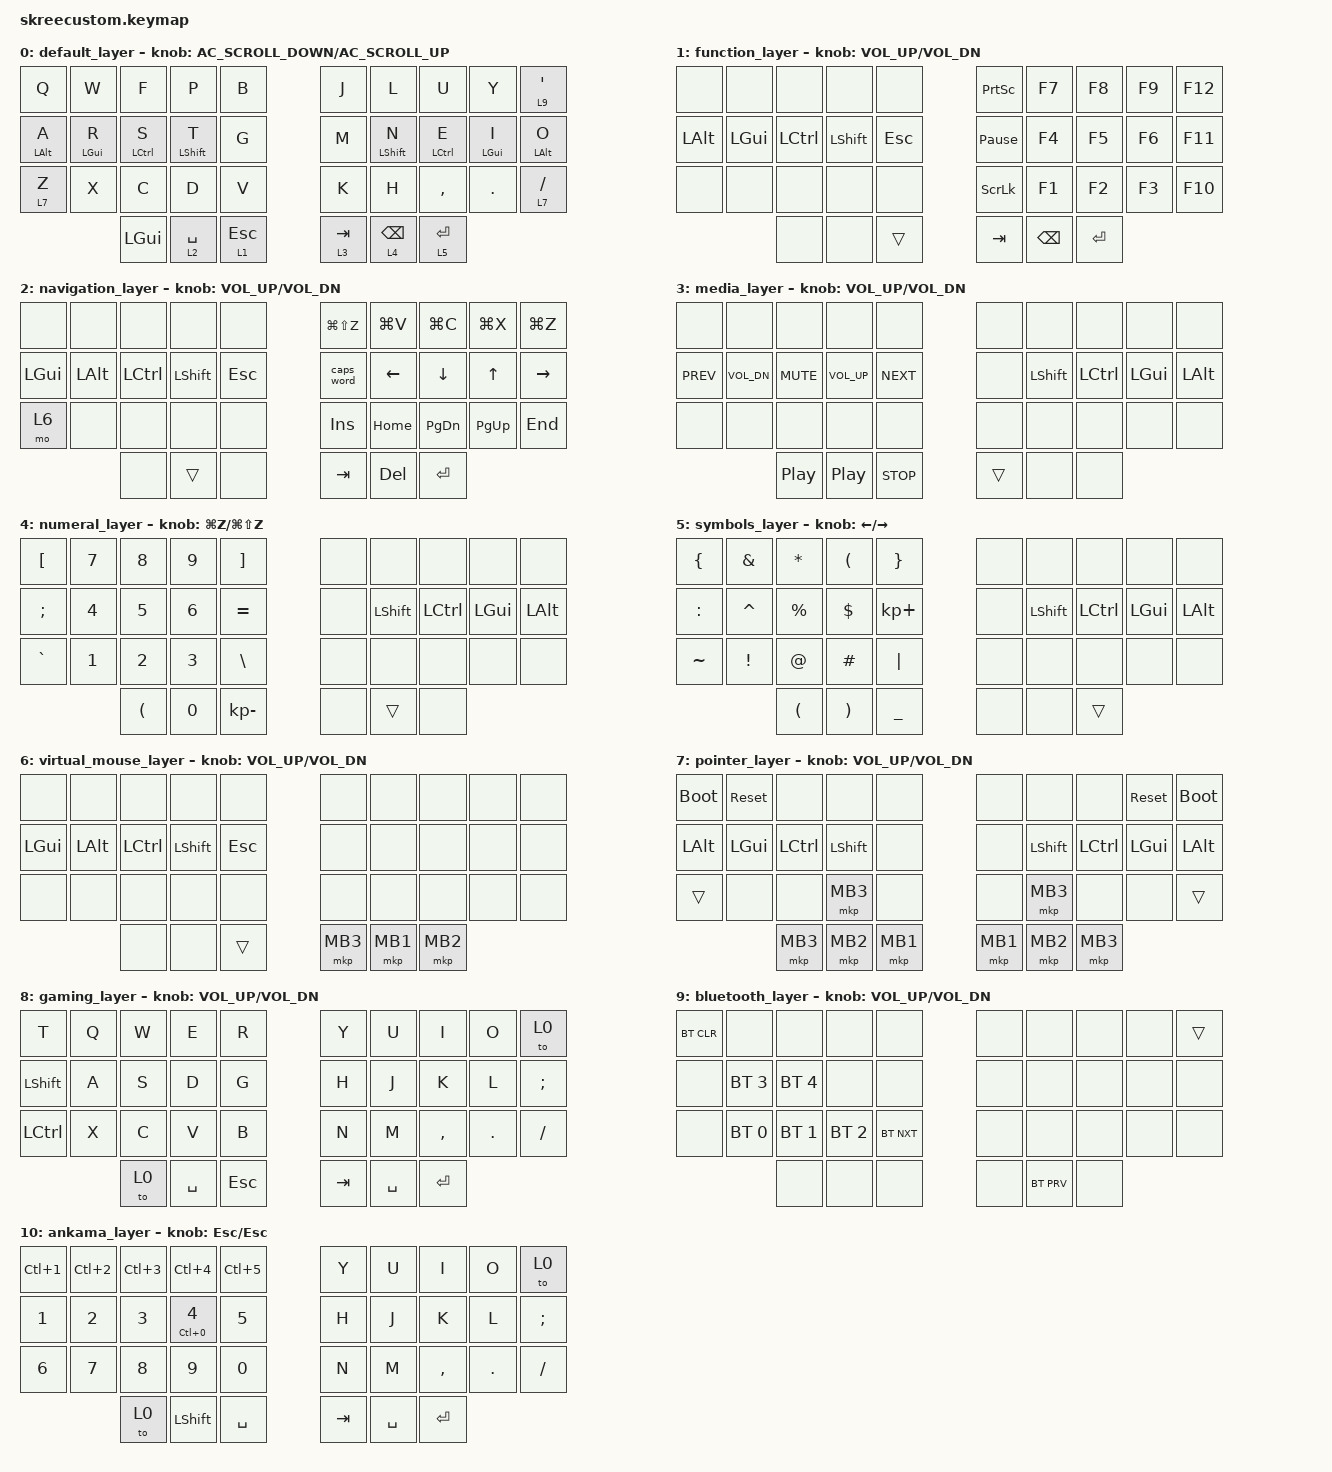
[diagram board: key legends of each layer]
/*
 * Copyright (c) 2020 The ZMK Contributors
 *
 * SPDX-License-Identifier: MIT
 */

#include <input/processors.dtsi>
#include <dt-bindings/zmk/input_transform.h>
#include <behaviors.dtsi>
#include <dt-bindings/zmk/bt.h>
#include <dt-bindings/zmk/keys.h>
#include <dt-bindings/zmk/pointing.h>

/ {
  combos {
    compatible = "zmk,combos";

    combo_gaming {
      timeout-ms = <50>;
      key-positions = <0 4>; // base layer - Q and B positions
      bindings = <&to 8>;
    };

    combo_ankama {
      timeout-ms = <50>;
      key-positions = <0 3>; // base layer - Q and P positions
      bindings = <&to 10>;
    };
  };
  
  behaviors {
    // Fast homerow mods for stronger fingers (T, N - shift keys)
    hml_fast: homerow_mods_left_fast {
        compatible = "zmk,behavior-hold-tap";
        #binding-cells = <2>;
        flavor = "balanced";
        tapping-term-ms = <130>;
        quick-tap-ms = <100>;
        require-prior-idle-ms = <30>;
        bindings = <&kp>, <&kp>;
        hold-trigger-key-positions = <5 6 7 8 9 15 16 17 18 19 25 26 27 28 29 30 31 32 33>;
    };

    hmr_fast: homerow_mods_right_fast {
        compatible = "zmk,behavior-hold-tap";
        #binding-cells = <2>;
        flavor = "balanced";
        tapping-term-ms = <130>;
        quick-tap-ms = <100>;
        require-prior-idle-ms = <30>;
        bindings = <&kp>, <&kp>;
        hold-trigger-key-positions = <0 1 2 3 4 10 11 12 13 14 20 21 22 23 24 30 31 32 33>;
    };

    // Medium homerow mods for ctrl keys (S, E)
    hml_med: homerow_mods_left_medium {
        compatible = "zmk,behavior-hold-tap";
        #binding-cells = <2>;
        flavor = "balanced";
        tapping-term-ms = <160>;
        quick-tap-ms = <110>;
        require-prior-idle-ms = <50>;
        bindings = <&kp>, <&kp>;
        hold-trigger-key-positions = <5 6 7 8 9 15 16 17 18 19 25 26 27 28 29 30 31 32 33>;
    };

    hmr_med: homerow_mods_right_medium {
        compatible = "zmk,behavior-hold-tap";
        #binding-cells = <2>;
        flavor = "balanced";
        tapping-term-ms = <160>;
        quick-tap-ms = <110>;
        require-prior-idle-ms = <50>;
        bindings = <&kp>, <&kp>;
        hold-trigger-key-positions = <0 1 2 3 4 10 11 12 13 14 20 21 22 23 24 30 31 32 33>;
    };

    // Slow homerow mods for weaker fingers (A, R, I, O - alt/gui)
    hml_slow: homerow_mods_left_slow {
        compatible = "zmk,behavior-hold-tap";
        #binding-cells = <2>;
        flavor = "balanced";
        tapping-term-ms = <190>;
        quick-tap-ms = <125>;
        require-prior-idle-ms = <80>;
        bindings = <&kp>, <&kp>;
        hold-trigger-key-positions = <5 6 7 8 9 15 16 17 18 19 25 26 27 28 29 30 31 32 33>;
    };

    hmr_slow: homerow_mods_right_slow {
        compatible = "zmk,behavior-hold-tap";
        #binding-cells = <2>;
        flavor = "balanced";
        tapping-term-ms = <190>;
        quick-tap-ms = <125>;
        require-prior-idle-ms = <80>;
        bindings = <&kp>, <&kp>;
        hold-trigger-key-positions = <0 1 2 3 4 10 11 12 13 14 20 21 22 23 24 30 31 32 33>;
    };

    // useful to make layer switching faster for thumb keys
    // and switching to mouse key layer
    lt_fast: layer_tap_fast {
        compatible = "zmk,behavior-hold-tap";
        #binding-cells = <2>;
        flavor = "tap-preferred";
        tapping-term-ms = <100>;
        quick-tap-ms = <80>;
        require-prior-idle-ms = <40>;
        bindings = <&mo>, <&kp>;
    };

    // Hold-tap for Ankama layer N4 key: LC(N0) when held, N4 when tapped
    ht_ankama_n4: hold_tap_ankama_n4 {
        compatible = "zmk,behavior-hold-tap";
        #binding-cells = <2>;
        flavor = "tap-preferred";
        tapping-term-ms = <200>;
        quick-tap-ms = <125>;
        bindings = <&kp>, <&kp>;
    };
  };

  keymap {
    compatible = "zmk,keymap";

    // Layer 0: Base (Colemak-DH)
    default_layer {
      bindings = <
        &kp Q           &kp W           &kp F           &kp P           &kp B           &kp J    &kp L           &kp U           &kp Y           &lt 9 SQT
        &hml_slow LALT A &hml_med LGUI R &hml_med LCTRL S &hml_fast LSHIFT T &kp G    &kp M &hmr_fast LSHIFT N &hmr_med LCTRL E &hmr_med LGUI I &hmr_slow LALT O
        &lt_fast 7 Z    &kp X           &kp C           &kp D           &kp V           &kp K    &kp H           &kp COMMA       &kp DOT         &lt 7 SLASH
        &kp LGUI    &lt_fast 2 SPACE  &lt_fast 1 ESC  &lt_fast 3 TAB  &lt_fast 4 BSPC    &lt_fast 5 ENTER
        >;

      sensor-bindings = <&inc_dec_kp C_AC_SCROLL_DOWN C_AC_SCROLL_UP>;
    };

    // Layer 1: Function
    function_layer {
      bindings = <
        &none           &none           &none           &none           &none           &kp PSCRN       &kp F7          &kp F8          &kp F9          &kp F12
        &kp LALT        &kp LGUI        &kp LCTRL       &kp LSHIFT      &kp ESC         &kp PAUSE_BREAK &kp F4          &kp F5          &kp F6          &kp F11
        &none           &none           &none           &none           &none           &kp SLCK        &kp F1          &kp F2          &kp F3          &kp F10
        &none           &none           &trans          &kp TAB         &kp BSPC        &kp ENTER
        >;

      sensor-bindings = <&inc_dec_kp C_VOL_UP C_VOL_DN>;
    };

    // Layer 2: Navigation
    navigation_layer {
      bindings = <
        &none           &none           &none           &none           &none           &kp LG(LS(Z))   &kp LG(V)       &kp LG(C)       &kp LG(X)       &kp LG(Z)
        &kp LGUI        &kp LALT        &kp LCTRL       &kp LSHIFT      &kp ESC         &caps_word      &kp LEFT        &kp DOWN        &kp UP          &kp RIGHT
        &mo 6           &none           &none           &none           &none           &kp INS         &kp HOME        &kp PG_DN       &kp PG_UP       &kp END
        &none           &trans          &none           &kp TAB         &kp DEL         &kp ENTER
        >;

      sensor-bindings = <&inc_dec_kp C_VOL_UP C_VOL_DN>;
    };

    // Layer 3: Media
    media_layer {
      bindings = <
        &none           &none           &none           &none           &none           &none           &none           &none           &none           &none
        &kp C_PREV      &kp C_VOL_DN    &kp C_MUTE      &kp C_VOL_UP    &kp C_NEXT      &none           &kp LSHIFT      &kp LCTRL       &kp LGUI        &kp LALT
        &none           &none           &none           &none           &none           &none           &none           &none           &none           &none
        &kp C_PLAY_PAUSE &kp C_PLAY_PAUSE &kp C_STOP     &trans          &none           &none
        >;

      sensor-bindings = <&inc_dec_kp C_VOL_UP C_VOL_DN>;
    };

    // Layer 4: Numeral
    numeral_layer {
      bindings = <
        &kp LBKT        &kp N7        &kp N8          &kp N9          &kp RBKT        &none           &none           &none           &none           &none
        &kp SEMI        &kp N4        &kp N5          &kp N6          &kp EQUAL       &none           &kp LSHIFT      &kp LCTRL       &kp LGUI        &kp LALT
        &kp GRAVE       &kp N1        &kp N2          &kp N3          &kp BSLH        &none           &none           &none           &none           &none
        &kp LPAR        &kp N0        &kp KP_MINUS    &none           &trans         &none
        >;

      sensor-bindings = <&inc_dec_kp LG(Z) LG(LS(Z))>;
    };

    // Layer 5: Symbols
    symbols_layer {
      bindings = <
        &kp LBRC        &kp AMPS        &kp ASTRK       &kp LPAR        &kp RBRC        &none           &none           &none           &none           &none
        &kp COLON       &kp CARET       &kp PRCNT       &kp DLLR       &kp KP_PLUS      &none           &kp LSHIFT      &kp LCTRL       &kp LGUI        &kp LALT
        &kp TILDE       &kp EXCL        &kp AT          &kp HASH        &kp PIPE        &none           &none           &none           &none           &none
        &kp LPAR        &kp RPAR        &kp UNDER       &none           &none           &trans
        >;

      sensor-bindings = <&inc_dec_kp LEFT RIGHT>;
    };

    // Layer 6: Virtual Mouse
    virtual_mouse_layer {
      bindings = <
        &none           &none           &none           &none           &none           &none           &none           &none           &none           &none
        &kp LGUI        &kp LALT        &kp LCTRL       &kp LSHIFT      &kp ESC         &none           &none           &none           &none           &none
        &none           &none           &none           &none           &none           &none           &none           &none           &none           &none
        &none           &none           &trans          &mkp MB3        &mkp MB1        &mkp MB2
        >;

      sensor-bindings = <&inc_dec_kp C_VOL_UP C_VOL_DN>;
    };

    // Layer 7: Pointer (accessed via Z and / keys)
    pointer_layer {
      bindings = <
        &bootloader     &sys_reset      &none           &none           &none           &none           &none           &none           &sys_reset      &bootloader
        &kp LALT        &kp LGUI        &kp LCTRL       &kp LSHIFT      &none           &none           &kp LSHIFT      &kp LCTRL       &kp LGUI        &kp LALT
        &trans          &none           &none           &mkp MB3        &none           &none           &mkp MB3        &none           &none           &trans
        &mkp MB3        &mkp MB2        &mkp MB1        &mkp MB1        &mkp MB2        &mkp MB3
        >;

      sensor-bindings = <&inc_dec_kp C_VOL_UP C_VOL_DN>;
    };

    // Layer 8: Gaming
    gaming_layer {
      bindings = <
        &kp T           &kp Q           &kp W           &kp E           &kp R           &kp Y    &kp U           &kp I           &kp O           &to 0
        &kp LSHIFT      &kp A           &kp S           &kp D           &kp G           &kp H    &kp J           &kp K           &kp L           &kp SEMI
        &kp LCTRL       &kp X           &kp C           &kp V           &kp B           &kp N    &kp M           &kp COMMA       &kp DOT         &kp SLASH
        &to 0           &kp SPACE       &kp ESC         &kp TAB  &kp SPACE       &kp ENTER
        >;

      sensor-bindings = <&inc_dec_kp C_VOL_UP C_VOL_DN>;
    };

    // Layer 9: Bluetooth
    bluetooth_layer {
      // by default there are 5 max profiles
      // BT_SEL changes to given profile
      // BT_NXT/PRV goes forward and back 1 index
      // BT_CLR clears the current profile
      // On the screen they show up as 1 indexed, but BT_SEL uses 0 indexing...
      bindings = <
        &bt BT_CLR       &none           &none              &none        &none           &none           &none           &none           &none           &trans
          &none          &bt BT_SEL 3    &bt BT_SEL 4       &none        &none           &none           &none           &none           &none           &none
          &none          &bt BT_SEL 0    &bt BT_SEL 1    &bt BT_SEL 2    &bt BT_NXT      &none           &none           &none           &none           &none
          &none          &none           &none           &none           &bt BT_PRV      &none
      >;

      sensor-bindings = <&inc_dec_kp C_VOL_UP C_VOL_DN>;
    };

    // Layer 10: Wakfu/Dofus
    ankama_layer {
      bindings = <
        &kp LC(N1)                  &kp LC(N2)      &kp LC(N3)      &kp LC(N4)              &kp LC(N5)      &kp Y    &kp U           &kp I           &kp O           &to 0
        &kp N1                      &kp N2          &kp N3          &ht_ankama_n4 LC(N0) N4 &kp N5          &kp H    &kp J           &kp K           &kp L           &kp SEMI
        &kp N6                      &kp N7          &kp N8          &kp N9                  &kp N0          &kp N    &kp M           &kp COMMA       &kp DOT         &kp SLASH
        &to 0                       &kp LSHFT       &kp SPACE       &kp TAB                 &kp SPACE       &kp ENTER
      >;

      sensor-bindings = <&inc_dec_kp ESC ESC>;
    };
  };
};
